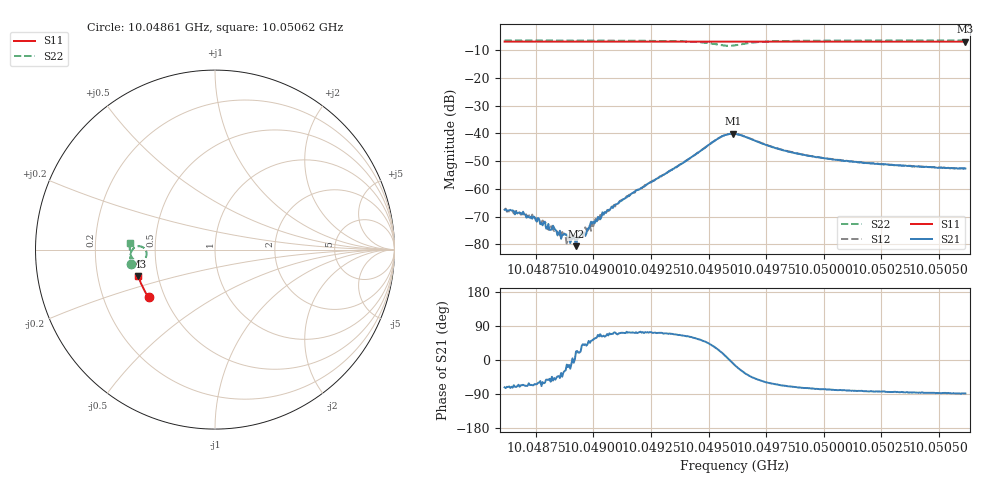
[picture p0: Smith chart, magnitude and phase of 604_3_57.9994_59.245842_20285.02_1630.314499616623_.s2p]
#  HZ  S  RI  R  50.00
! Rohde & Schwarz Vector Network Analyzer
! Rohde-Schwarz,ZNB20-2Port,1311601062101988,3.16
! Created: UTC 3/21/2024, 1:17:22 AM
! freq[Hz]  re:S11  im:S11  re:S21  im:S21  re:S12  im:S12  re:S22  im:S22
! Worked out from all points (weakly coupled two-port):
!   401 points, 10.04861 GHz to 10.05062 GHz, reference 50 ohm
!   highest |S21| = -40.09 dB at 10.0496 GHz (marker M1); lowest = -80.7 dB at 10.04892 GHz (marker M2)
!   lowest |S11| = -6.9 dB at 10.05062 GHz (marker M3), VSWR 2.65, Z = 19.3 - j7.23 ohm
!   |S11| at or under -10 dB: nowhere
!   |S22| runs from -8.4 to -6.4 dB; largest |S21 - S12| = 0.00074
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1.0048614e10  -0.37 -0.2662  0.00013 -0.0004  0.000164 -0.000401  -0.4704 -0.0776
1.0048689e10  -0.3727 -0.2622  0.000136 -0.000318  0.000151 -0.000327  -0.471 -0.072
1.0048754e10  -0.3751 -0.2585  0.000113 -0.000231  0.000114 -0.000239  -0.4714 -0.0671
1.0048789e10  -0.3763 -0.2566  0.000129 -0.000222  0.000142 -0.000198  -0.4717 -0.0644
1.0048829e10  -0.3777 -0.2542  0.000133 -0.000145  0.000114 -0.000131  -0.472 -0.0612
1.0048854e10  -0.3786 -0.253  0.000119 -0.00013  0.000121 -8.65e-05  -0.4719 -0.0592
1.0048889e10  -0.3798 -0.2509  0.000129 -4.3e-05  0.000128 -3.68e-05  -0.4722 -0.0562
1.0048899e10  -0.3803 -0.2504  9.71e-05 -4.12e-05  0.000112 -7.36e-06  -0.4723 -0.0554
1.0048924e10  -0.3811 -0.2489  8.55e-05 3.57e-05  0.000116 7.78e-06  -0.4723 -0.0534
1.0048949e10  -0.3819 -0.2475  0.000129 0.000101  0.000145 7.98e-05  -0.4724 -0.0512
1.0048964e10  -0.3824 -0.2467  0.000105 9.41e-05  0.00014 0.000145  -0.4724 -0.05
1.0048989e10  -0.3831 -0.2453  0.000164 0.000197  0.000105 0.000141  -0.4725 -0.0477
1.0049049e10  -0.3853 -0.2419  0.000181 0.000336  0.000127 0.000353  -0.4724 -0.0423
1.0049175e10  -0.3893 -0.2349  0.000262 0.000818  0.000203 0.000834  -0.471 -0.0296
1.0049285e10  -0.393 -0.2283  0.000509 0.00152  0.000408 0.00157  -0.468 -0.0159
1.0049545e10  -0.4001 -0.2129  0.00747 0.00361  0.00721 0.00407  -0.3987 0.0113
1.0049605e10  -0.4015 -0.2098  0.00979 -0.00143  0.00992 -0.000733  -0.3829 -0.0366
1.0049615e10  -0.4017 -0.2093  0.00955 -0.0024  0.00972 -0.00172  -0.3866 -0.0447
1.00498e10  -0.4077 -0.1987  0.00226 -0.00482  0.00254 -0.00471  -0.461 -0.0467
1.004995e10  -0.4119 -0.1898  0.001 -0.00373  0.00121 -0.00373  -0.4714 -0.0244
1.0050285e10  -0.4201 -0.1692  0.000267 -0.00271  0.000433 -0.00269  -0.4753 0.00838
1.0050615e10  -0.4272 -0.1488  6.19e-05 -0.00233  0.000197 -0.00231  -0.4746 0.034
